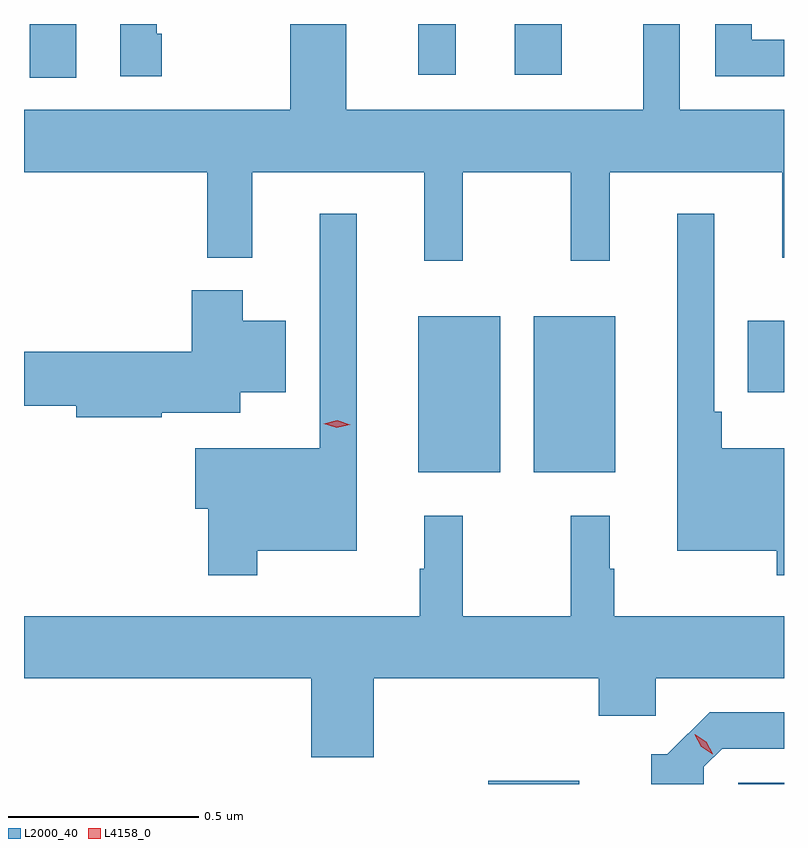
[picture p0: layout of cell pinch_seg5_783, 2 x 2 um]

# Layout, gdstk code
import gdstk
lib = gdstk.Library(unit=1e-6, precision=1e-09)
def R(c, l, rs):  # rectangles x0, y0, x1, y1
    for r in rs: c.add(gdstk.rectangle(r[:2], r[2:], *l))
def P(c, l, *ps):  # polygons
    for p in ps: c.add(gdstk.Polygon(p, *l))
L2000_40 = (2000, 40)
L4158_0 = (4158, 0)

pinch_seg5_783 = lib.new_cell('pinch_seg5_783')
R(pinch_seg5_783, L2000_40, [(832.791,900.438,833.03,900.446), (833.448,900.438,833.569,900.441), (832.607,901.259,832.822,901.669), (832.91,901.259,833.125,901.669), (833.474,901.469,833.569,901.657), (831.584,902.297,831.706,902.438), (832.607,902.304,832.705,902.438), (832.86,902.304,832.984,902.438)])
P(pinch_seg5_783, L2000_40, [(831.569,902.048),(832.051,902.048),(832.051,901.823),(832.169,901.823),(832.169,902.048),(832.622,902.048),(832.622,901.815),(832.724,901.815),(832.724,902.048),(833.008,902.048),(833.008,901.815),(833.111,901.815),(833.111,902.048),(833.564,902.048),(833.564,901.823),(833.569,901.823),(833.569,902.212),(833.295,902.212),(833.295,902.438),(833.198,902.438),(833.198,902.212),(832.417,902.212),(832.417,902.438),(832.27,902.438),(832.27,902.212),(831.569,902.212)],
  [(833.569,902.397),(833.484,902.397),(833.484,902.438),(833.388,902.438),(833.388,902.301),(833.569,902.301)],
  [(831.931,902.413),(831.918,902.413),(831.918,902.438),(831.822,902.438),(831.822,902.301),(831.931,902.301)],
  [(832.183,901.052),(832.444,901.052),(832.444,901.939),(832.347,901.939),(832.347,901.321),(832.02,901.321),(832.02,901.163),(832.054,901.163),(832.054,900.987),(832.183,900.987)],
  [(833.569,901.321),(833.405,901.321),(833.405,901.417),(833.385,901.417),(833.385,901.939),(833.288,901.939),(833.288,901.052),(833.55,901.052),(833.55,900.987),(833.569,900.987)],
  [(831.932,901.415),(832.138,901.415),(832.138,901.469),(832.258,901.469),(832.258,901.657),(832.144,901.657),(832.144,901.738),(832.01,901.738),(832.01,901.575),(831.569,901.575),(831.569,901.433),(831.707,901.433),(831.707,901.403),(831.932,901.403)],
  [(833.008,901.144),(833.008,900.88),(832.724,900.88),(832.724,901.144),(832.622,901.144),(832.622,901.004),(832.611,901.004),(832.611,900.88),(831.569,900.88),(831.569,900.716),(832.325,900.716),(832.325,900.508),(832.49,900.508),(832.49,900.716),(833.081,900.716),(833.081,900.618),(833.232,900.618),(833.232,900.716),(833.569,900.716),(833.569,900.88),(833.122,900.88),(833.122,901.004),(833.11,901.004),(833.11,901.144)],
  [(833.358,900.483),(833.406,900.531),(833.569,900.531),(833.569,900.627),(833.373,900.627),(833.262,900.516),(833.219,900.516),(833.219,900.438),(833.358,900.438)])
P(pinch_seg5_783, L4158_0, [(833.382,900.516),(833.351,900.536),(833.334,900.568),(833.334,900.569),(833.334,900.569),(833.365,900.549),(833.382,900.517),(833.382,900.516)],
  [(832.392,901.375),(832.358,901.386),(832.357,901.386),(832.358,901.386),(832.393,901.395),(832.428,901.383),(832.428,901.383),(832.428,901.383)])

lib.write_gds('pinch_seg5_783.gds')
